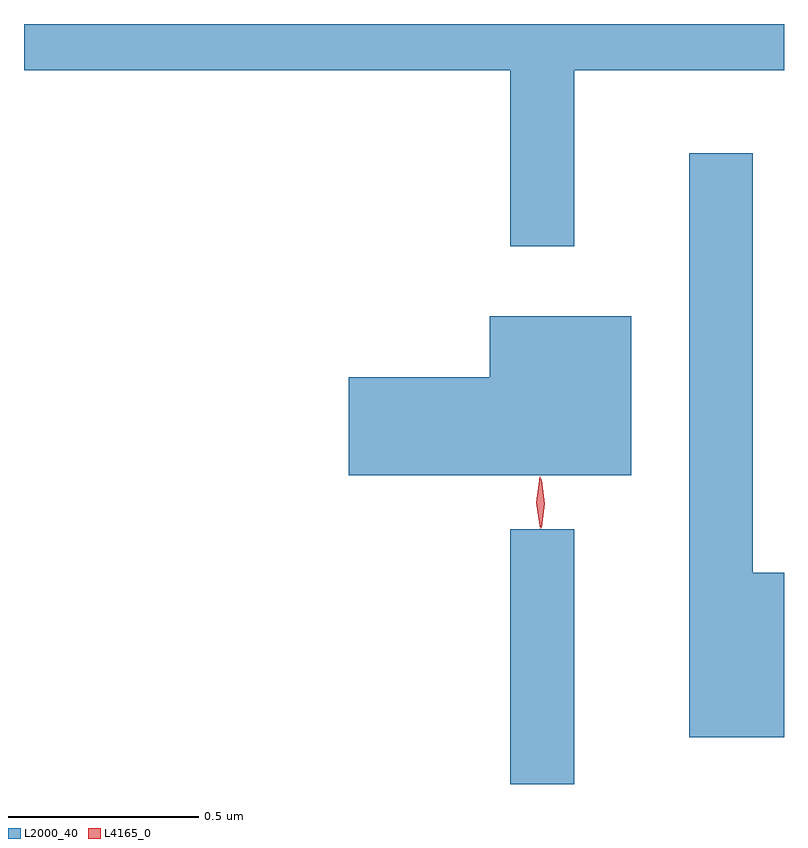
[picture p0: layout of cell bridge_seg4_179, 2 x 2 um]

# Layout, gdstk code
import gdstk
lib = gdstk.Library(unit=1e-6, precision=1e-09)
def R(c, l, rs):  # rectangles x0, y0, x1, y1
    for r in rs: c.add(gdstk.rectangle(r[:2], r[2:], *l))
def P(c, l, *ps):  # polygons
    for p in ps: c.add(gdstk.Polygon(p, *l))
L2000_40 = (2000, 40)
L4165_0 = (4165, 0)

bridge_seg4_179 = lib.new_cell('bridge_seg4_179')
R(bridge_seg4_179, L2000_40, [(892.821,1292.858,892.989,1293.528)])
P(bridge_seg4_179, L2000_40, [(892.989,1294.736),(893.541,1294.736),(893.541,1294.858),(891.541,1294.858),(891.541,1294.736),(892.821,1294.736),(892.821,1294.273),(892.989,1294.273)],
  [(893.541,1293.414),(893.459,1293.414),(893.459,1294.518),(893.291,1294.518),(893.291,1292.981),(893.541,1292.981)],
  [(893.139,1294.089),(892.766,1294.089),(892.766,1293.929),(892.396,1293.929),(892.396,1293.671),(893.139,1293.671)])
P(bridge_seg4_179, L4165_0, [(892.902,1293.533),(892.902,1293.533),(892.892,1293.596),(892.902,1293.659),(892.902,1293.66),(892.903,1293.659),(892.912,1293.596),(892.903,1293.533)],
  [(892.899,1293.53),(892.889,1293.598),(892.898,1293.666),(892.899,1293.666),(892.899,1293.666),(892.909,1293.598),(892.9,1293.53),(892.9,1293.53)])

lib.write_gds('bridge_seg4_179.gds')
